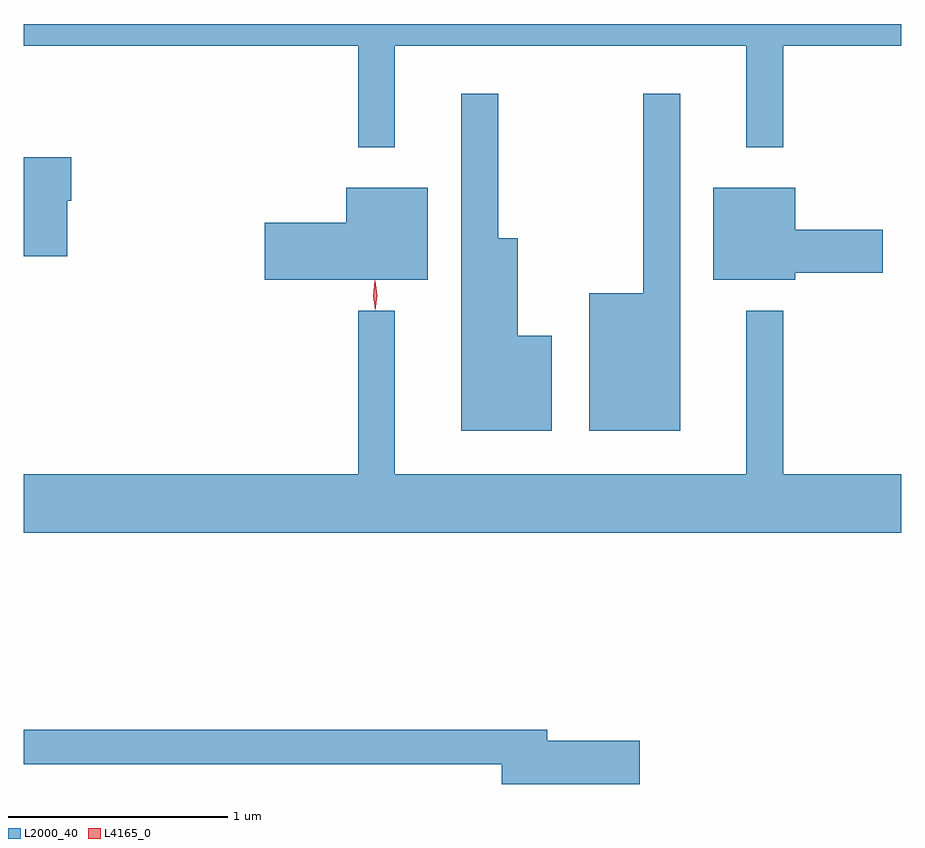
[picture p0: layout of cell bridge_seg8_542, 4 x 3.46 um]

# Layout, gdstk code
import gdstk
lib = gdstk.Library(unit=1e-6, precision=1e-09)
def P(c, l, *ps):  # polygons
    for p in ps: c.add(gdstk.Polygon(p, *l))
L2000_40 = (2000, 40)
L4165_0 = (4165, 0)

bridge_seg8_542 = lib.new_cell('bridge_seg8_542')
P(bridge_seg8_542, L2000_40, [(418.279,1867.496),(419.881,1867.496),(419.881,1867.033),(420.049,1867.033),(420.049,1867.496),(420.587,1867.496),(420.587,1867.596),(416.587,1867.596),(416.587,1867.496),(418.111,1867.496),(418.111,1867.033),(418.279,1867.033)],
  [(419.579,1867.278),(419.411,1867.278),(419.411,1866.369),(419.166,1866.369),(419.166,1865.741),(419.579,1865.741)],
  [(418.994,1866.174),(418.839,1866.174),(418.839,1866.619),(418.749,1866.619),(418.749,1867.278),(418.581,1867.278),(418.581,1865.741),(418.994,1865.741)],
  [(416.784,1866.791),(416.804,1866.791),(416.804,1866.989),(416.587,1866.989),(416.587,1866.536),(416.784,1866.536)],
  [(420.104,1866.461),(420.504,1866.461),(420.504,1866.659),(420.104,1866.659),(420.104,1866.849),(419.731,1866.849),(419.731,1866.431),(420.104,1866.431)],
  [(418.429,1866.849),(418.056,1866.849),(418.056,1866.689),(417.686,1866.689),(417.686,1866.431),(418.429,1866.431)],
  [(420.587,1865.544),(420.049,1865.544),(420.049,1866.288),(419.881,1866.288),(419.881,1865.544),(418.279,1865.544),(418.279,1866.288),(418.111,1866.288),(418.111,1865.544),(416.587,1865.544),(416.587,1865.276),(420.587,1865.276)],
  [(419.394,1864.329),(418.974,1864.329),(418.974,1864.379),(416.587,1864.379),(416.587,1864.221),(418.766,1864.221),(418.766,1864.131),(419.394,1864.131)])
P(bridge_seg8_542, L4165_0, [(418.189,1866.29),(418.189,1866.29),(418.179,1866.358),(418.188,1866.425),(418.188,1866.426),(418.189,1866.425),(418.199,1866.358),(418.19,1866.29)],
  [(418.189,1866.293),(418.189,1866.293),(418.179,1866.356),(418.187,1866.419),(418.188,1866.42),(418.188,1866.419),(418.198,1866.356),(418.19,1866.293)])

lib.write_gds('bridge_seg8_542.gds')
